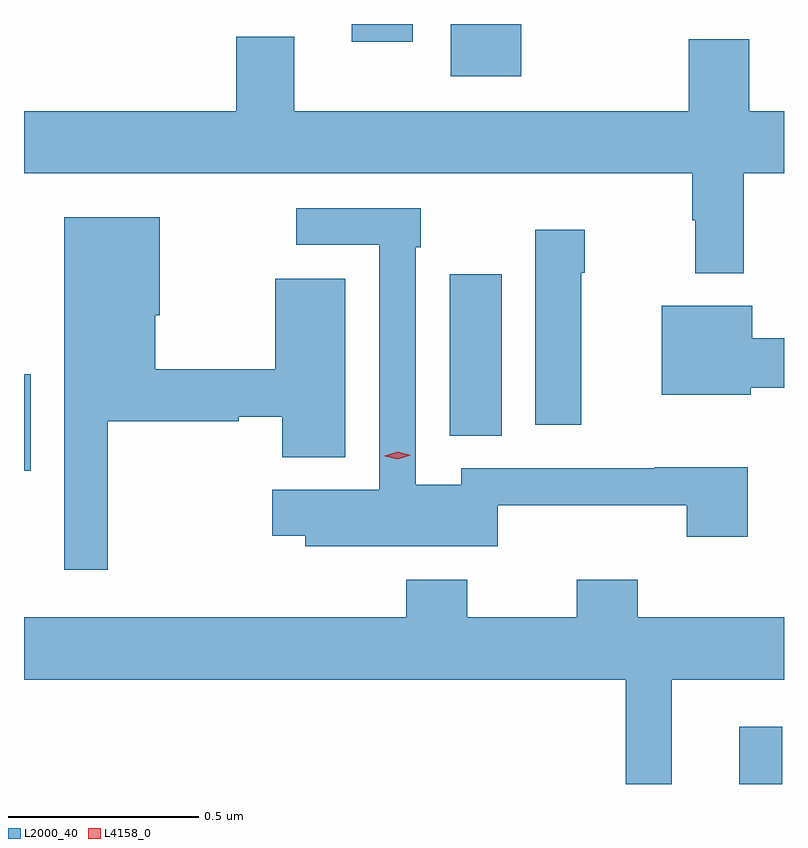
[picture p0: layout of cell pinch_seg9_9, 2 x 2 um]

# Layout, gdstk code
import gdstk
lib = gdstk.Library(unit=1e-6, precision=1e-09)
def R(c, l, rs):  # rectangles x0, y0, x1, y1
    for r in rs: c.add(gdstk.rectangle(r[:2], r[2:], *l))
def P(c, l, *ps):  # polygons
    for p in ps: c.add(gdstk.Polygon(p, *l))
L2000_40 = (2000, 40)
L4158_0 = (4158, 0)

pinch_seg9_9 = lib.new_cell('pinch_seg9_9')
R(pinch_seg9_9, L2000_40, [(1046.795,1232.109,1046.909,1232.26), (1044.913,1232.933,1044.931,1233.187), (1046.033,1233.025,1046.17,1233.451), (1046.036,1233.971,1046.221,1234.109), (1045.775,1234.062,1045.936,1234.109)])
P(pinch_seg9_9, L2000_40, [(1046.807,1233.716),(1046.913,1233.716),(1046.913,1233.88),(1046.822,1233.88),(1046.822,1234.069),(1046.662,1234.069),(1046.662,1233.88),(1045.624,1233.88),(1045.624,1234.075),(1045.472,1234.075),(1045.472,1233.88),(1044.913,1233.88),(1044.913,1233.716),(1046.671,1233.716),(1046.671,1233.593),(1046.679,1233.593),(1046.679,1233.453),(1046.807,1233.453)],
  [(1046.16,1232.843),(1046.657,1232.843),(1046.657,1232.76),(1046.817,1232.76),(1046.817,1232.942),(1046.573,1232.942),(1046.573,1232.94),(1046.064,1232.94),(1046.064,1232.896),(1045.944,1232.896),(1045.944,1233.521),(1045.957,1233.521),(1045.957,1233.624),(1045.629,1233.624),(1045.629,1233.528),(1045.848,1233.528),(1045.848,1232.884),(1045.566,1232.884),(1045.566,1232.762),(1045.653,1232.762),(1045.653,1232.735),(1046.16,1232.735)],
  [(1045.133,1233.064),(1045.478,1233.064),(1045.478,1233.075),(1045.592,1233.075),(1045.592,1232.969),(1045.759,1232.969),(1045.759,1233.439),(1045.574,1233.439),(1045.574,1233.2),(1045.258,1233.2),(1045.258,1233.342),(1045.27,1233.342),(1045.27,1233.601),(1045.019,1233.601),(1045.019,1232.673),(1045.133,1232.673)],
  [(1046.38,1233.455),(1046.388,1233.455),(1046.388,1233.568),(1046.258,1233.568),(1046.258,1233.054),(1046.38,1233.054)],
  [(1046.826,1233.152),(1046.913,1233.152),(1046.913,1233.282),(1046.83,1233.282),(1046.83,1233.367),(1046.591,1233.367),(1046.591,1233.134),(1046.826,1233.134)],
  [(1046.617,1232.384),(1046.913,1232.384),(1046.913,1232.548),(1046.528,1232.548),(1046.528,1232.647),(1046.368,1232.647),(1046.368,1232.548),(1046.079,1232.548),(1046.079,1232.647),(1045.919,1232.647),(1045.919,1232.548),(1044.913,1232.548),(1044.913,1232.384),(1046.496,1232.384),(1046.496,1232.109),(1046.617,1232.109)])
P(pinch_seg9_9, L4158_0, [(1045.896,1232.963),(1045.862,1232.972),(1045.861,1232.973),(1045.862,1232.973),(1045.896,1232.983),(1045.931,1232.974),(1045.931,1232.974),(1045.931,1232.974)])

lib.write_gds('pinch_seg9_9.gds')
